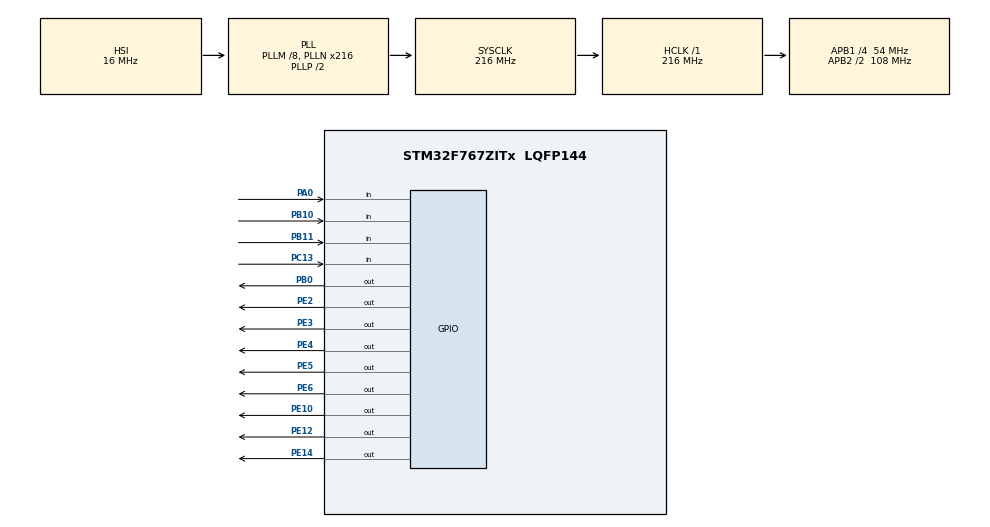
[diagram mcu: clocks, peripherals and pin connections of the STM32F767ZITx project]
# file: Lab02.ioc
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Mcu.Family=STM32F7
Mcu.Name=STM32F767ZITx
Mcu.Package=LQFP144
NVIC.PriorityGroup=NVIC_PRIORITYGROUP_4
PA0/WKUP.Signal=GPIO_Input
PB0.Signal=GPIO_Output
PB10.Signal=GPIO_Input
PB11.Signal=GPIO_Input
PC13.Signal=GPIO_Input
PE10.Signal=GPIO_Output
PE12.Signal=GPIO_Output
PE14.Signal=GPIO_Output
PE2.Signal=GPIO_Output
PE3.Signal=GPIO_Output
PE4.Signal=GPIO_Output
PE5.Signal=GPIO_Output
PE6.Signal=GPIO_Output
ProjectManager.HeapSize=0x200
ProjectManager.StackSize=0x400
ProjectManager.TargetToolchain=STM32CubeIDE
RCC.AHBFreq_Value=216000000
RCC.APB1CLKDivider=RCC_HCLK_DIV4
RCC.APB1Freq_Value=54000000
RCC.APB1TimFreq_Value=108000000
RCC.APB2CLKDivider=RCC_HCLK_DIV2
RCC.APB2Freq_Value=108000000
RCC.APB2TimFreq_Value=216000000
RCC.CortexFreq_Value=216000000
RCC.HCLKFreq_Value=216000000
RCC.HSE_VALUE=25000000
RCC.HSI_VALUE=16000000
RCC.LSE_VALUE=32768
RCC.PLLM=8
RCC.PLLN=216
RCC.SYSCLKFreq_VALUE=216000000
RCC.SYSCLKSource=RCC_SYSCLKSOURCE_PLLCLK
RCC.USBFreq_Value=216000000
RCC.VCOOutputFreq_Value=432000000
board=custom

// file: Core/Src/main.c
/* USER CODE BEGIN Header */
/**
  ******************************************************************************
  * @file           : main.c
  * @brief          : Main program body
  ******************************************************************************
  * @attention
  *
  * Copyright (c) 2023 STMicroelectronics.
  * All rights reserved.
  *
  * This software is licensed under terms that can be found in the LICENSE file
  * in the root directory of this software component.
  * If no LICENSE file comes with this software, it is provided AS-IS.
  *
  ******************************************************************************
  */
/* USER CODE END Header */
#include "main.h"
#include "gpio.h"

/* USER CODE BEGIN PV */

// Define the LED pins
uint16_t LED_PINS[] = {GPIO_PIN_2, GPIO_PIN_4, GPIO_PIN_5, GPIO_PIN_6, GPIO_PIN_3, GPIO_PIN_10, GPIO_PIN_12, GPIO_PIN_14};
// Define the number of LEDs
#define NUM_LEDS (sizeof(LED_PINS) / sizeof(LED_PINS[0]))
// Define the current LED index
int current_led = -1;
/* USER CODE END PV */

void SystemClock_Config(void);

int main(void)
{

  /* MCU Configuration--------------------------------------------------------*/

  /* Reset of all peripherals, Initializes the Flash interface and the Systick. */
  HAL_Init();

  /* Configure the system clock */
  SystemClock_Config();

  /* Initialize all configured peripherals */
  MX_GPIO_Init();

  /* Infinite loop */
  /* USER CODE BEGIN WHILE */

  // Set all LEDs to initial state (off)
  while (1)
  {
    /* USER CODE END WHILE */

    /* USER CODE BEGIN 3 */

    //check if the button is pressed
    if (HAL_GPIO_ReadPin(GPIOC, GPIO_PIN_13) == GPIO_PIN_SET)
    {
        // Turn off the current LED
        if (current_led >= 0)  // Check if current_led is a valid index
        {
            HAL_GPIO_WritePin(GPIOE, LED_PINS[current_led], GPIO_PIN_RESET);
        }

        // Increment the current LED index
        current_led = (current_led + 1) % NUM_LEDS;
        // Turn on the next LED
        HAL_GPIO_WritePin(GPIOE, LED_PINS[current_led], GPIO_PIN_SET);

        // Add a delay
        HAL_Delay(300);

        /*while (HAL_GPIO_ReadPin(GPIOC, GPIO_PIN_13) == GPIO_PIN_SET)
        {

        }*/
    }

    //backward led
    else if (HAL_GPIO_ReadPin(GPIOB, GPIO_PIN_11) == GPIO_PIN_RESET)
    {
        // Turn off the current LED
        if (current_led >= 0)  // Check if current_led is a valid index
        {
            HAL_GPIO_WritePin(GPIOE, LED_PINS[current_led], GPIO_PIN_RESET);
        }

        // Increment the current LED index
        current_led = (current_led - 1) % NUM_LEDS;
        // Turn on the next LED
        HAL_GPIO_WritePin(GPIOE, LED_PINS[current_led], GPIO_PIN_SET);

        // Add a delay
        HAL_Delay(300);

        /*while (HAL_GPIO_ReadPin(GPIOC, GPIO_PIN_14) == GPIO_PIN_SET)
        {

        }*/
    }

    //loop lsb to msb
    else if (HAL_GPIO_ReadPin(GPIOB, GPIO_PIN_10) == GPIO_PIN_RESET)
    {
      // Save the current LED index
      int start_led = current_led;

      // Loop from the current LED to the lsb
      for(int i = current_led; i >= 0; i--)
      {
        // Turn off the current LED
        HAL_GPIO_WritePin(GPIOE, LED_PINS[i], GPIO_PIN_RESET);

        // Turn on the current LED
        HAL_GPIO_WritePin(GPIOE, LED_PINS[i], GPIO_PIN_SET);
        HAL_Delay(300);

        HAL_GPIO_WritePin(GPIOE, LED_PINS[i], GPIO_PIN_RESET);
      }

      // Loop from the msb to the start LED
      for(int i = NUM_LEDS - 1; i > start_led; i--)
      {
        // Turn off the current LED
        HAL_GPIO_WritePin(GPIOE, LED_PINS[i], GPIO_PIN_RESET);
        // Turn on the current LED
        HAL_GPIO_WritePin(GPIOE, LED_PINS[i], GPIO_PIN_SET);
        HAL_Delay(300);
        // Turn off the current LED
        HAL_GPIO_WritePin(GPIOE, LED_PINS[i], GPIO_PIN_RESET);
      }

      // Turn on the LED at the original current_led position
      HAL_GPIO_WritePin(GPIOE, LED_PINS[start_led], GPIO_PIN_SET);
    }

  }
  /* USER CODE END 3 */
}

void SystemClock_Config(void)
{
  RCC_OscInitTypeDef RCC_OscInitStruct = {0};
  RCC_ClkInitTypeDef RCC_ClkInitStruct = {0};

  /** Configure the main internal regulator output voltage
  */
  __HAL_RCC_PWR_CLK_ENABLE();
  __HAL_PWR_VOLTAGESCALING_CONFIG(PWR_REGULATOR_VOLTAGE_SCALE1);

  /** Initializes the RCC Oscillators according to the specified parameters
  * in the RCC_OscInitTypeDef structure.
  */
  RCC_OscInitStruct.OscillatorType = RCC_OSCILLATORTYPE_HSI;
  RCC_OscInitStruct.HSIState = RCC_HSI_ON;
  RCC_OscInitStruct.HSICalibrationValue = RCC_HSICALIBRATION_DEFAULT;
  RCC_OscInitStruct.PLL.PLLState = RCC_PLL_ON;
  RCC_OscInitStruct.PLL.PLLSource = RCC_PLLSOURCE_HSI;
  RCC_OscInitStruct.PLL.PLLM = 8;
  RCC_OscInitStruct.PLL.PLLN = 216;
  RCC_OscInitStruct.PLL.PLLP = RCC_PLLP_DIV2;
  RCC_OscInitStruct.PLL.PLLQ = 2;
  RCC_OscInitStruct.PLL.PLLR = 2;
  if (HAL_RCC_OscConfig(&RCC_OscInitStruct) != HAL_OK)
  {
    Error_Handler();
  }

  /** Activate the Over-Drive mode
  */
  if (HAL_PWREx_EnableOverDrive() != HAL_OK)
  {
    Error_Handler();
  }

  /** Initializes the CPU, AHB and APB buses clocks
  */
  RCC_ClkInitStruct.ClockType = RCC_CLOCKTYPE_HCLK|RCC_CLOCKTYPE_SYSCLK
                              |RCC_CLOCKTYPE_PCLK1|RCC_CLOCKTYPE_PCLK2;
  RCC_ClkInitStruct.SYSCLKSource = RCC_SYSCLKSOURCE_PLLCLK;
  RCC_ClkInitStruct.AHBCLKDivider = RCC_SYSCLK_DIV1;
  RCC_ClkInitStruct.APB1CLKDivider = RCC_HCLK_DIV4;
  RCC_ClkInitStruct.APB2CLKDivider = RCC_HCLK_DIV2;

  if (HAL_RCC_ClockConfig(&RCC_ClkInitStruct, FLASH_LATENCY_7) != HAL_OK)
  {
    Error_Handler();
  }
}

void Error_Handler(void)
{
  __disable_irq();
  while (1)
  {
  }
}
